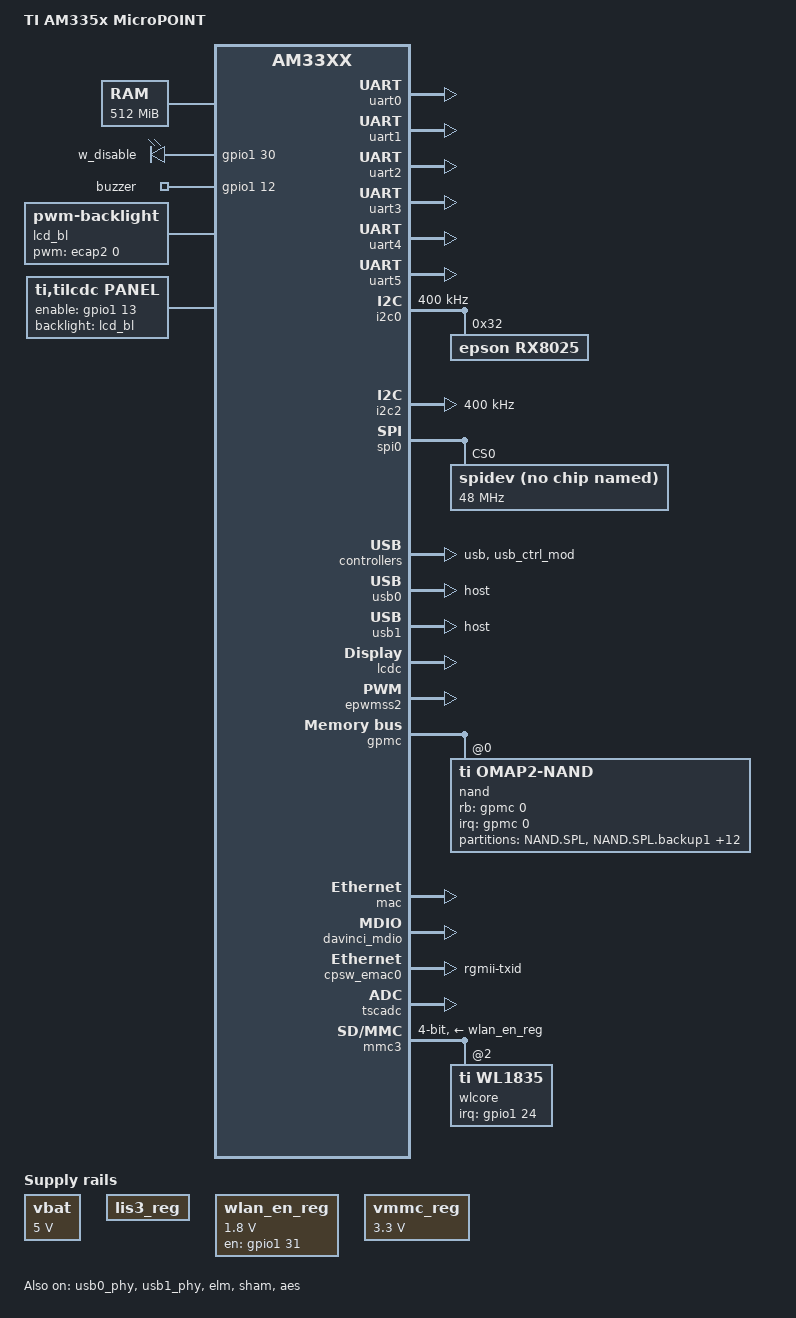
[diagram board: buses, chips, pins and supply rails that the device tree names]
/*
 * Copyright (C) 2012 Texas Instruments Incorporated - http://www.ti.com/
 *
 * This program is free software; you can redistribute it and/or modify
 * it under the terms of the GNU General Public License version 2 as
 * published by the Free Software Foundation.
 */
/dts-v1/;

#include "am33xx.dtsi"
#include <dt-bindings/interrupt-controller/irq.h>

/ {
	model = "TI AM335x MicroPOINT";
	compatible = "ti,am335x-evm", "ti,am33xx";

	memory {
		device_type = "memory";
		reg = <0x80000000 0x20000000>; /* 512 MB */
	};

	vbat: fixedregulator@0 {
		compatible = "regulator-fixed";
		regulator-name = "vbat";
		regulator-min-microvolt = <5000000>;
		regulator-max-microvolt = <5000000>;
		regulator-boot-on;
	};

	lis3_reg: fixedregulator@1 {
		compatible = "regulator-fixed";
		regulator-name = "lis3_reg";
		regulator-boot-on;
	};

	wlan_en_reg: fixedregulator@2 {
		compatible = "regulator-fixed";
		regulator-name = "wlan-en-regulator";
		regulator-min-microvolt = <1800000>;
		regulator-max-microvolt = <1800000>;

		/* WLAN_EN GPIO for this board - Bank1, pin31 */
		gpio = <&gpio1 31 0>;

		/* WLAN card specific delay */
		startup-delay-us = <70000>;
		enable-active-high;
	};

	vmmc_reg: fixedregulator@3 {
		compatible = "regulator-fixed";
		regulator-name = "vmmc_reg";
		regulator-min-microvolt = <3300000>;
		regulator-max-microvolt = <3300000>;
		regulator-boot-on;
	};

	leds {
		pinctrl-names = "default";
		pinctrl-0 = <&user_leds_s0>;
		compatible = "gpio-leds";

		led@0 {
			label = "w_disable";
			gpios = <&gpio1 30 GPIO_ACTIVE_HIGH>;
			default-state = "off";
		};

		led@1 {
			label = "buzzer";
			gpios = <&gpio1 12 GPIO_ACTIVE_HIGH>;
			default-state = "off";
		};
	};

	/*
	 * defined in pdata-quirks.c
	 *
	kim {
		compatible = "kim";
		nshutdown_gpio = <52>;
		dev_name = "/dev/ttyS5";
		flow_cntrl = <1>;
		baud_rate = <3000000>;
	};

	btwilink {
		compatible = "btwilink";
	};
	*/

	lcd_bl: backlight {
		compatible = "pwm-backlight";
		pwms = <&ecap2 0 50000 0>;
		brightness-levels = <0 1 2 3 4 5 6 7 8 9 10 11 12 13 14 15 16 17 18 19 20 21 22 23 24 25 26 27 28 29 30 31 32 33 34 35 36 37 38 39 40 41 42 43 44 45 46 47 48 49 50 51 52 53 54 55 56 57 58 59 60 61 62 63 64 65 66 67 68 69 70 71 72 73 74 75 76 77 78 79 80 81 82 83 84 85 86 87 88 89 90 91 92 93 94 95 96 97 98 99 100 101 102 103 104 105 106 107 108 109 110 111 112 113 114 115 116 117 118 119 120 121 122 123 124 125 126 127 128 129 130 131 132 133 134 135 136 137 138 139 140 141 142 143 144 145 146 147 148 149 150 151 152 153 154 155 156 157 158 159 160 161 162 163 164 165 166 167 168 169 170 171 172 173 174 175 176 177 178 179 180 181 182 183 184 185 186 187 188 189 190 191 192 193 194 195 196 197 198 199 200 201 202 203 204 205 206 207 208 209 210 211 212 213 214 215 216 217 218 219 220 221 222 223 224 225 226 227 228 229 230 231 232 233 234 235 236 237 238 239 240 241 242 243 244 245 246 247 248 249 250 251 252 253 254 255>;
		default-brightness-level = <200>;
	};

	panel {
		compatible = "ti,tilcdc,panel";
		status = "okay";
		pinctrl-names = "default";
		pinctrl-0 = <&lcd_pins_s0>;
		backlight = <&lcd_bl>;

		enable-gpios = <&gpio1 13 GPIO_ACTIVE_HIGH>;

		panel-info {
			ac-bias           = <255>;
			ac-bias-intrpt    = <0>;
			dma-burst-sz      = <16>;
			bpp               = <16>;
			fdd               = <0x80>;
			sync-edge         = <0>;
			sync-ctrl         = <1>;
			raster-order      = <0>;
			fifo-th           = <0>;
		};

		display-timings {
			480x272p60 {
				clock-frequency = <30000000>;
				hactive = <480>;
				vactive = <272>;
				hfront-porch = <2>;
				hback-porch = <2>;
				hsync-len = <41>;
				vfront-porch = <2>;
				vback-porch = <2>;
				vsync-len = <10>;
				hsync-active = <0>;
				vsync-active = <0>;
			};
			640x480p60 {
				clock-frequency = <25000000>;
				hactive = <640>;
				vactive = <480>;
				hfront-porch = <80>;
				hback-porch = <80>;
				hsync-len = <96>;
				vfront-porch = <16>;
				vback-porch = <16>;
				vsync-len = <20>;
				hsync-active = <0>;
				vsync-active = <0>;
			};
			800x480p60 {
				clock-frequency = <35000000>;
				hactive = <800>;
				vactive = <480>;
				hfront-porch = <210>;
				hback-porch = <45>;
				hsync-len = <1>;
				vfront-porch = <132>;
				vback-porch = <45>;
				vsync-len = <1>;
				hsync-active = <0>;
				vsync-active = <0>;
				de-active = <1>;
				pixelclk-active = <1>;
			};

			/*This is the timing for HDMI&VGA*/
			1024x768p60 {
				clock-frequency = <80000000>;
				hactive = <1024>;
				vactive = <768>;
				hfront-porch = <18>;
				hback-porch = <248>;
				hsync-len = <53>;
				vfront-porch = <3>;
				vback-porch = <29>;
				vsync-len = <6>;
				hsync-active = <0>;
				vsync-active = <0>;
				de-active = <1>;
				pixelclk-active = <1>;
			};
		};
	};
};

&am33xx_pinmux {
	pinctrl-names = "default";
	pinctrl-0 = <&default_pins>;

	default_pins: pinmux_default_pins {
		pinctrl-single,pins = <
			/* IC Card */
			0x058 (PIN_INPUT_PULLUP | MUX_MODE7)	/* gpmc_a5.gpio1_21 */
			0x1b0 (PIN_INPUT_PULLUP | MUX_MODE7)    /* xdma_event_intr0.gpio0_19 */
			0x1a4 (PIN_INPUT_PULLUP | MUX_MODE7)    /* mcasp0_fsr.gpio3_19 */
			/* AM335X_INT */
			0x05c (PIN_INPUT_PULLUP | MUX_MODE7)    /* gpmc_a7.gpio1_23 */
			/* BT_EN */
			0x50 (PIN_OUTPUT | MUX_MODE7)			/* gpmc_a4.gpio1_20 */
		>;
	};

	user_leds_s0: pinmux_user_leds_s0 {
		pinctrl-single,pins = <
			0x80 (PIN_OUTPUT | MUX_MODE7)	/* gpmc_csn1.gpio1_30 */
			0x30 (PIN_OUTPUT | MUX_MODE7)	/* gpmc_ad12.gpio1_12 */
		>;
	};

	i2c0_pins: pinmux_i2c0_pins {
		pinctrl-single,pins = <
			0x188 (PIN_INPUT_PULLUP | MUX_MODE0)	/* i2c0_sda.i2c0_sda */
			0x18c (PIN_INPUT_PULLUP | MUX_MODE0)	/* i2c0_scl.i2c0_scl */
		>;
	};

	i2c2_pins: pinmux_i2c2_pins {
		pinctrl-single,pins = <
			0x178 (PIN_INPUT_PULLUP | MUX_MODE3)	/* uart1_ctsn.i2c2_sda */
			0x17c (PIN_INPUT_PULLUP | MUX_MODE3)	/* uart1_rtsn.i2c2_scl */
		>;
	};

	spi0_pins: pinmux_spi0_pins {
		pinctrl-single,pins = <
			0x150 (PIN_INPUT_PULLUP | MUX_MODE0) /* spi0_sclk.spi0_sclk */
			0x154 (PIN_INPUT_PULLUP | MUX_MODE0) /* spi0_d0.spi0_d0 */
			0x158 (PIN_INPUT_PULLUP | MUX_MODE0) /* spi0_d1.spi0_d1 */
			0x15C (PIN_INPUT_PULLUP | MUX_MODE0) /* spi0_cs0.spi0_cs0 */
		>;
	};

	usb0_pins: pinmux_usb0_pins {
		pinctrl-single,pins = <
			0x21c (PIN_OUTPUT | MUX_MODE0) /* usb0_drvvbus.usb0_drvvbus */
		>;
	};

	usb1_pins: pinmux_usb1_pins {
		pinctrl-single,pins = <
			0x234 (PIN_OUTPUT | MUX_MODE0) /* usb1_drvvbus.usb1_drvvbus */
		>;
	};

	uart0_pins: pinmux_uart0_pins {
		pinctrl-single,pins = <
			0x170 (PIN_INPUT_PULLUP | MUX_MODE0)	/* uart0_rxd.uart0_rxd */
			0x174 (PIN_OUTPUT_PULLDOWN | MUX_MODE0)	/* uart0_txd.uart0_txd */
		>;
	};

	uart1_pins: pinmux_uart1_pins {
		pinctrl-single,pins = <
			0x180 (PIN_INPUT_PULLUP | MUX_MODE0)	/* uart1_rxd.uart1_rxd */
			0x184 (PIN_OUTPUT_PULLDOWN | MUX_MODE0)	/* uart1_txd.uart1_txd */
		>;
	};

	uart2_pins: pinmux_uart2_pins {
		pinctrl-single,pins = <
			0x10c (PIN_INPUT_PULLUP | MUX_MODE6)	/* mii1_crs.uart2_rxd */
			0x110 (PIN_OUTPUT_PULLDOWN | MUX_MODE6)	/* mii1_rx_er.uart2_txd */
		>;
	};

	uart3_pins: pinmux_uart3_pins {
		pinctrl-single,pins = <
			0x160 (PIN_INPUT_PULLUP | MUX_MODE1)	/* spi0_cs1.uart3_rxd */
			0x164 (PIN_OUTPUT_PULLDOWN | MUX_MODE1)	/* ecap0_in_pwm0_out.uart3_txd */
		>;
	};

	uart4_pins: pinmux_uart4_pins {
		pinctrl-single,pins = <
			0x168 (PIN_INPUT_PULLUP | MUX_MODE1)	/* uart0_ctsn.uart4_rxd */
			0x16c (PIN_OUTPUT_PULLDOWN | MUX_MODE1)	/* uart0_rtsn.uart4_txd */
		>;
	};

	uart5_pins: pinmux_uart5_pins {
		pinctrl-single,pins = <
			0x108 (PIN_INPUT_PULLUP | MUX_MODE3)	/* mii1_col.uart5_rxd */
			0x144 (PIN_OUTPUT_PULLDOWN | MUX_MODE3)	/* rmii1_ref_clk.uart5_txd */
			/* conflict with mmc0 */
			0x0f8 (PIN_INPUT_PULLUP | MUX_MODE2)	/* mmc0_dat1.uart5_ctsn */
			0x0fc (PIN_OUTPUT_PULLDOWN | MUX_MODE2)	/* mmc0_dat0.uart5_rtsn */
		>;
	};

	nandflash_pins_s0: nandflash_pins_s0 {
		pinctrl-single,pins = <
			0x0 (PIN_INPUT_PULLUP | MUX_MODE0)	/* gpmc_ad0.gpmc_ad0 */
			0x4 (PIN_INPUT_PULLUP | MUX_MODE0)	/* gpmc_ad1.gpmc_ad1 */
			0x8 (PIN_INPUT_PULLUP | MUX_MODE0)	/* gpmc_ad2.gpmc_ad2 */
			0xc (PIN_INPUT_PULLUP | MUX_MODE0)	/* gpmc_ad3.gpmc_ad3 */
			0x10 (PIN_INPUT_PULLUP | MUX_MODE0)	/* gpmc_ad4.gpmc_ad4 */
			0x14 (PIN_INPUT_PULLUP | MUX_MODE0)	/* gpmc_ad5.gpmc_ad5 */
			0x18 (PIN_INPUT_PULLUP | MUX_MODE0)	/* gpmc_ad6.gpmc_ad6 */
			0x1c (PIN_INPUT_PULLUP | MUX_MODE0)	/* gpmc_ad7.gpmc_ad7 */
			0x70 (PIN_INPUT_PULLUP | MUX_MODE0)	/* gpmc_wait0.gpmc_wait0 */
			0x74 (PIN_INPUT_PULLUP | MUX_MODE7)	/* gpmc_wpn.gpio0_30 */
			0x7c (PIN_OUTPUT | MUX_MODE0)		/* gpmc_csn0.gpmc_csn0  */
			0x90 (PIN_OUTPUT | MUX_MODE0)		/* gpmc_advn_ale.gpmc_advn_ale */
			0x94 (PIN_OUTPUT | MUX_MODE0)		/* gpmc_oen_ren.gpmc_oen_ren */
			0x98 (PIN_OUTPUT | MUX_MODE0)		/* gpmc_wen.gpmc_wen */
			0x9c (PIN_OUTPUT | MUX_MODE0)		/* gpmc_be0n_cle.gpmc_be0n_cle */
		>;
	};

	nandflash_pins_sleep: pinmux_nandflash_pins_sleep {
		pinctrl-single,pins = <
			0x0 (PIN_INPUT_PULLDOWN | MUX_MODE7)
			0x4 (PIN_INPUT_PULLDOWN | MUX_MODE7)
			0x8 (PIN_INPUT_PULLDOWN | MUX_MODE7)
			0xc (PIN_INPUT_PULLDOWN | MUX_MODE7)
			0x10 (PIN_INPUT_PULLDOWN | MUX_MODE7)
			0x14 (PIN_INPUT_PULLDOWN | MUX_MODE7)
			0x18 (PIN_INPUT_PULLDOWN | MUX_MODE7)
			0x1c (PIN_INPUT_PULLDOWN | MUX_MODE7)
			0x70 (PIN_INPUT_PULLDOWN | MUX_MODE7)
			0x74 (PIN_INPUT_PULLDOWN | MUX_MODE7)
			0x7c (PIN_INPUT_PULLDOWN | MUX_MODE7)
			0x90 (PIN_INPUT_PULLDOWN | MUX_MODE7)
			0x94 (PIN_INPUT_PULLDOWN | MUX_MODE7)
			0x98 (PIN_INPUT_PULLDOWN | MUX_MODE7)
			0x9c (PIN_INPUT_PULLDOWN | MUX_MODE7)
		>;
	};

	ecap2_pins: backlight_pins {
		pinctrl-single,pins = <
			0x19c (PIN_OUTPUT_PULLDOWN | MUX_MODE4)		/* mcasp0_ahclkr.ecap2_in_pwm2_out */
		>;
	};

	cpsw_default: cpsw_default {
		pinctrl-single,pins = <
			/* Slave 1 */
			0x114 (PIN_OUTPUT_PULLDOWN | MUX_MODE2)	/* mii1_txen.rgmii1_tctl */
			0x118 (PIN_INPUT_PULLDOWN | MUX_MODE2)	/* mii1_rxdv.rgmii1_rctl */
			0x11c (PIN_OUTPUT_PULLDOWN | MUX_MODE2)	/* mii1_txd3.rgmii1_td3 */
			0x120 (PIN_OUTPUT_PULLDOWN | MUX_MODE2)	/* mii1_txd2.rgmii1_td2 */
			0x124 (PIN_OUTPUT_PULLDOWN | MUX_MODE2)	/* mii1_txd1.rgmii1_td1 */
			0x128 (PIN_OUTPUT_PULLDOWN | MUX_MODE2)	/* mii1_txd0.rgmii1_td0 */
			0x12c (PIN_OUTPUT_PULLDOWN | MUX_MODE2)	/* mii1_txclk.rgmii1_tclk */
			0x130 (PIN_INPUT_PULLDOWN | MUX_MODE2)	/* mii1_rxclk.rgmii1_rclk */
			0x134 (PIN_INPUT_PULLDOWN | MUX_MODE2)	/* mii1_rxd3.rgmii1_rd3 */
			0x138 (PIN_INPUT_PULLDOWN | MUX_MODE2)	/* mii1_rxd2.rgmii1_rd2 */
			0x13c (PIN_INPUT_PULLDOWN | MUX_MODE2)	/* mii1_rxd1.rgmii1_rd1 */
			0x140 (PIN_INPUT_PULLDOWN | MUX_MODE2)	/* mii1_rxd0.rgmii1_rd0 */
		>;
	};

	cpsw_sleep: cpsw_sleep {
		pinctrl-single,pins = <
			/* Slave 1 reset value */
			0x114 (PIN_INPUT_PULLDOWN | MUX_MODE7)
			0x118 (PIN_INPUT_PULLDOWN | MUX_MODE7)
			0x11c (PIN_INPUT_PULLDOWN | MUX_MODE7)
			0x120 (PIN_INPUT_PULLDOWN | MUX_MODE7)
			0x124 (PIN_INPUT_PULLDOWN | MUX_MODE7)
			0x128 (PIN_INPUT_PULLDOWN | MUX_MODE7)
			0x12c (PIN_INPUT_PULLDOWN | MUX_MODE7)
			0x130 (PIN_INPUT_PULLDOWN | MUX_MODE7)
			0x134 (PIN_INPUT_PULLDOWN | MUX_MODE7)
			0x138 (PIN_INPUT_PULLDOWN | MUX_MODE7)
			0x13c (PIN_INPUT_PULLDOWN | MUX_MODE7)
			0x140 (PIN_INPUT_PULLDOWN | MUX_MODE7)
		>;
	};

	davinci_mdio_default: davinci_mdio_default {
		pinctrl-single,pins = <
			/* MDIO */
			0x148 (PIN_INPUT_PULLUP | SLEWCTRL_FAST | MUX_MODE0)	/* mdio_data.mdio_data */
			0x14c (PIN_OUTPUT_PULLUP | MUX_MODE0)			/* mdio_clk.mdio_clk */
		>;
	};

	davinci_mdio_sleep: davinci_mdio_sleep {
		pinctrl-single,pins = <
			/* MDIO reset value */
			0x148 (PIN_INPUT_PULLDOWN | MUX_MODE7)
			0x14c (PIN_INPUT_PULLDOWN | MUX_MODE7)
		>;
	};

	mmc1_pins: pinmux_mmc1_pins {
		pinctrl-single,pins = <
			0x64 (PIN_INPUT_PULLUP | MUX_MODE7) /* gpmc_a9.gpio1_25 */
		>;
	};

	mmc3_pins: pinmux_mmc3_pins {
		pinctrl-single,pins = <
			0x44 (PIN_INPUT_PULLUP | MUX_MODE3)	/* gpmc_a1.mmc2_dat0, INPUT_PULLUP | MODE3 */
			0x48 (PIN_INPUT_PULLUP | MUX_MODE3)	/* gpmc_a2.mmc2_dat1, INPUT_PULLUP | MODE3 */
			0x4C (PIN_INPUT_PULLUP | MUX_MODE3)	/* gpmc_a3.mmc2_dat2, INPUT_PULLUP | MODE3 */
			0x78 (PIN_INPUT_PULLUP | MUX_MODE3)	/* gpmc_ben1.mmc2_dat3, INPUT_PULLUP | MODE3 */
			0x88 (PIN_INPUT_PULLUP | MUX_MODE3)	/* gpmc_csn3.mmc2_cmd, INPUT_PULLUP | MODE3 */
			0x8C (PIN_INPUT_PULLUP | MUX_MODE3)	/* gpmc_clk.mmc2_clk, INPUT_PULLUP | MODE3 */
		>;
	};

	wlan_pins: pinmux_wlan_pins {
		pinctrl-single,pins = <
			/* WLAN_EN */
			0x84 (PIN_OUTPUT_PULLDOWN | MUX_MODE7)	/* gpmc_csn2.gpio1_31 */
			/* WLAN_IRQ */
			0x60 (PIN_INPUT | MUX_MODE7)			/* gpmc_a8.gpio1_24 */
		>;
	};

	lcd_pins_s0: lcd_pins_s0 {
		pinctrl-single,pins = <
			0xa0 (PIN_OUTPUT | MUX_MODE0)		/* lcd_data0.lcd_data0 */
			0xa4 (PIN_OUTPUT | MUX_MODE0)		/* lcd_data1.lcd_data1 */
			0xa8 (PIN_OUTPUT | MUX_MODE0)		/* lcd_data2.lcd_data2 */
			0xac (PIN_OUTPUT | MUX_MODE0)		/* lcd_data3.lcd_data3 */
			0xb0 (PIN_OUTPUT | MUX_MODE0)		/* lcd_data4.lcd_data4 */
			0xb4 (PIN_OUTPUT | MUX_MODE0)		/* lcd_data5.lcd_data5 */
			0xb8 (PIN_OUTPUT | MUX_MODE0)		/* lcd_data6.lcd_data6 */
			0xbc (PIN_OUTPUT | MUX_MODE0)		/* lcd_data7.lcd_data7 */
			0xc0 (PIN_OUTPUT | MUX_MODE0)		/* lcd_data8.lcd_data8 */
			0xc4 (PIN_OUTPUT | MUX_MODE0)		/* lcd_data9.lcd_data9 */
			0xc8 (PIN_OUTPUT | MUX_MODE0)		/* lcd_data10.lcd_data10 */
			0xcc (PIN_OUTPUT | MUX_MODE0)		/* lcd_data11.lcd_data11 */
			0xd0 (PIN_OUTPUT | MUX_MODE0)		/* lcd_data12.lcd_data12 */
			0xd4 (PIN_OUTPUT | MUX_MODE0)		/* lcd_data13.lcd_data13 */
			0xd8 (PIN_OUTPUT | MUX_MODE0)		/* lcd_data14.lcd_data14 */
			0xdc (PIN_OUTPUT | MUX_MODE0)		/* lcd_data15.lcd_data15 */
			0xe0 (PIN_OUTPUT | MUX_MODE0)		/* lcd_vsync.lcd_vsync */
			0xe4 (PIN_OUTPUT | MUX_MODE0)		/* lcd_hsync.lcd_hsync */
			0xe8 (PIN_OUTPUT | MUX_MODE0)		/* lcd_pclk.lcd_pclk */
			0xec (PIN_OUTPUT | MUX_MODE0)		/* lcd_ac_bias_en.lcd_ac_bias_en */

			0x34 (PIN_OUTPUT | MUX_MODE7)		/* gpmc_ad13.gpio1_13 */
		>;
	};
};

&uart0 {
	pinctrl-names = "default";
	pinctrl-0 = <&uart0_pins>;

	status = "okay";
};

&uart1 {
	pinctrl-names = "default";
	pinctrl-0 = <&uart1_pins>;

	status = "okay";
};

&uart2 {
	pinctrl-names = "default";
	pinctrl-0 = <&uart2_pins>;

	status = "okay";
};

&uart3 {
	pinctrl-names = "default";
	pinctrl-0 = <&uart3_pins>;

	status = "okay";
};

&uart4 {
	pinctrl-names = "default";
	pinctrl-0 = <&uart4_pins>;

	status = "okay";
};

&uart5 {
	pinctrl-names = "default";
	pinctrl-0 = <&uart5_pins>;

	status = "okay";
};

&i2c0 {
	pinctrl-names = "default";
	pinctrl-0 = <&i2c0_pins>;
	clock-frequency = <400000>;
	status = "okay";

	rx8025: rx8025@32 {
		compatible = "epson,rx8025";
		reg = <0x32>;
	};
};

&i2c2 {
	pinctrl-names = "default";
	pinctrl-0 = <&i2c2_pins>;
	clock-frequency = <400000>;
	status = "okay";
};

&spi0 {
	pinctrl-names = "default";
	pinctrl-0 = <&spi0_pins>;
	ti,pindir-d0-out-d1-in;
	status = "okay";

	spidev@0 {
		compatible = "rohm,dh2228fv";
		spi-max-frequency = <48000000>;
		reg = <0>;
	};
};

&usb {
	status = "okay";
};

&usb_ctrl_mod {
	status = "okay";
};

&usb0_phy {
	status = "okay";
};

&usb1_phy {
	status = "okay";
};

&usb0 {
	status = "okay";
	pinctrl-names = "default";
	pinctrl-0 = <&usb0_pins>;
	dr_mode = "host";
};

&usb1 {
	status = "okay";
	pinctrl-names = "default";
	pinctrl-0 = <&usb1_pins>;
	dr_mode = "host";
};

&cppi41dma  {
	status = "okay";
};

&lcdc {
	status = "okay";
};

&elm {
	status = "okay";
};

&epwmss2 {
	status = "okay";

	ecap2: ecap@48304100 {
		status = "okay";
		pinctrl-names = "default";
		pinctrl-0 = <&ecap2_pins>;
	};
};

&gpmc {
	status = "okay";
	pinctrl-names = "default", "sleep";
	pinctrl-0 = <&nandflash_pins_s0>;
	pinctrl-1 = <&nandflash_pins_sleep>;
	ranges = <0 0 0x08000000 0x1000000>;	/* CS0: 16MB for NAND */
	nand@0,0 {
		compatible = "ti,omap2-nand";
		reg = <0 0 4>; /* CS0, offset 0, IO size 4 */
		interrupt-parent = <&gpmc>;
		interrupts = <0 IRQ_TYPE_NONE>, /* fifoevent */
			     <1 IRQ_TYPE_NONE>;	/* termcount */
		rb-gpios = <&gpmc 0 GPIO_ACTIVE_HIGH>; /* gpmc_wait0 */
		ti,nand-ecc-opt = "bch8";
		ti,elm-id = <&elm>;
		nand-bus-width = <8>;
		gpmc,device-width = <1>;
		gpmc,sync-clk-ps = <0>;
		gpmc,cs-on-ns = <0>;
		gpmc,cs-rd-off-ns = <44>;
		gpmc,cs-wr-off-ns = <44>;
		gpmc,adv-on-ns = <6>;
		gpmc,adv-rd-off-ns = <34>;
		gpmc,adv-wr-off-ns = <44>;
		gpmc,we-on-ns = <0>;
		gpmc,we-off-ns = <40>;
		gpmc,oe-on-ns = <0>;
		gpmc,oe-off-ns = <54>;
		gpmc,access-ns = <64>;
		gpmc,rd-cycle-ns = <82>;
		gpmc,wr-cycle-ns = <82>;
		gpmc,wait-on-read = "true";
		gpmc,wait-on-write = "true";
		gpmc,bus-turnaround-ns = <0>;
		gpmc,cycle2cycle-delay-ns = <0>;
		gpmc,clk-activation-ns = <0>;
		gpmc,wait-monitoring-ns = <0>;
		gpmc,wr-access-ns = <40>;
		gpmc,wr-data-mux-bus-ns = <0>;
		/* MTD partition table */
		/* All SPL-* partitions are sized to minimal length
		 * which can be independently programmable. For
		 * NAND flash this is equal to size of erase-block */
		#address-cells = <1>;
		#size-cells = <1>;
		partition@0 {
			label = "NAND.SPL";
			reg = <0x00000000 0x000020000>;
		};
		partition@1 {
			label = "NAND.SPL.backup1";
			reg = <0x00020000 0x00020000>;
		};
		partition@2 {
			label = "NAND.SPL.backup2";
			reg = <0x00040000 0x00020000>;
		};
		partition@3 {
			label = "NAND.SPL.backup3";
			reg = <0x00060000 0x00020000>;
		};
		partition@4 {
			label = "NAND.u-boot-spl-os";
			reg = <0x00080000 0x00040000>;
		};
		partition@5 {
			label = "NAND.u-boot-spl-os.backup1";
			reg = <0x000C0000 0x00040000>;
		};
		partition@6 {
			label = "NAND.u-boot";
			reg = <0x00100000 0x00100000>;
		};
		partition@7 {
			label = "NAND.u-boot.backup1";
			reg = <0x00200000 0x00100000>;
		};
		partition@8 {
			label = "NAND.u-boot-env";
			reg = <0x00300000 0x00020000>;
		};
		partition@9 {
			label = "NAND.u-boot-env.backup1";
			reg = <0x00320000 0x00020000>;
		};
		partition@10 {
			label = "NAND.logo";
			reg = <0x00340000 0x00400000>;
		};
		partition@11 {
			label = "NAND.kernel";
			reg = <0x00740000 0x00E00000>;
		};
		partition@12 {
			label = "NAND.file-system";
			reg = <0x01540000 0x18000000>;
		};
		partition@13 {
			label = "NAND.user";
			reg = <0x19540000 0x06AC0000>;
		};
	};
};

&mac {
	pinctrl-names = "default";
	pinctrl-0 = <&cpsw_default>;
	status = "okay";
};

&davinci_mdio {
	pinctrl-names = "default", "sleep";
	pinctrl-0 = <&davinci_mdio_default>;
	pinctrl-1 = <&davinci_mdio_sleep>;
	status = "okay";
};

&cpsw_emac0 {
	phy_id = <&davinci_mdio>, <4>;
	phy-mode = "rgmii-txid";
};

&lcdc {
	status = "okay";
};

&tscadc {
	status = "okay";
	tsc {
		ti,wires = <4>;
		ti,x-plate-resistance = <200>;
		ti,coordinate-readouts = <5>;
		ti,wire-config = <0x00 0x11 0x22 0x33>;
		ti,charge-delay = <0x400>;
	};

	adc {
		ti,adc-channels = <4 5 6 7>;
	};
};

&mmc1 {
	/*
	 * conflict with uart5 rts/cts, so disable in NAND.dts
	 * and enable in MMC.dts.
	 */
	status = "disabled";
	vmmc-supply = <&vmmc_reg>;
	bus-width = <4>;
	pinctrl-names = "default";
	pinctrl-0 = <&mmc1_pins>;
	cd-gpios = <&gpio1 25 GPIO_ACTIVE_LOW>;
};

&mmc3 {
	/* these are on the crossbar and are outlined in the
	   xbar-event-map element */
	dmas = <&edma 12
		&edma 13>;
	dma-names = "tx", "rx";
	status = "okay";
	vmmc-supply = <&wlan_en_reg>;
	bus-width = <4>;
	max-frequency = <25000000>;
	pinctrl-names = "default";
	pinctrl-0 = <&mmc3_pins &wlan_pins>;
	ti,non-removable;
	ti,needs-special-hs-handling;
	cap-power-off-card;
	keep-power-in-suspend;

	#address-cells = <1>;
	#size-cells = <0>;
	wlcore: wlcore@0 {
		compatible = "ti,wl1835";
		reg = <2>;
		interrupt-parent = <&gpio1>;
		interrupts = <24 IRQ_TYPE_LEVEL_HIGH>;
	};
};

&edma {
	ti,edma-xbar-event-map = /bits/ 16 <1 12
						2 13>;
};

&sham {
	status = "okay";
};

&aes {
	status = "okay";
};

&rtc {
	status = "disabled";
	clocks = <&clk_32768_ck>, <&clkdiv32k_ick>;
	clock-names = "ext-clk", "int-clk";
};
